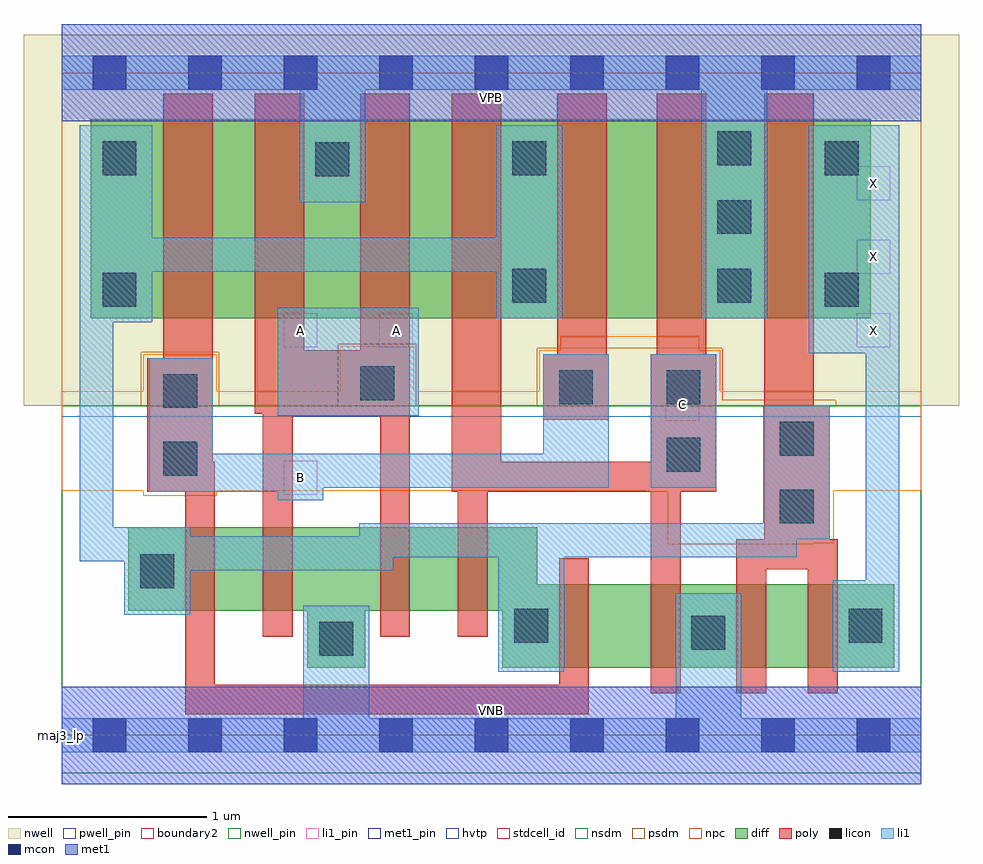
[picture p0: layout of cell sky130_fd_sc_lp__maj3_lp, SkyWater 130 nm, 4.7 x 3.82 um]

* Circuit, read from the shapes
.subckt sky130_fd_sc_lp__maj3_lp A B C VGND VNB VPB VPWR X
XM1 n1 B n2 VNB sky130_fd_pr__nfet_01v8 w=0.42 l=0.15
XM2 VGND A n1 VNB sky130_fd_pr__nfet_01v8 w=0.42 l=0.15
XM3 n3 A VGND VNB sky130_fd_pr__nfet_01v8 w=0.42 l=0.15
XM4 n2 C n3 VNB sky130_fd_pr__nfet_01v8 w=0.42 l=0.15
XM5 n4 B n2 VNB sky130_fd_pr__nfet_01v8 w=0.42 l=0.15
XM6 VGND C n4 VNB sky130_fd_pr__nfet_01v8 w=0.42 l=0.15
XM7 n5 n2 VGND VNB sky130_fd_pr__nfet_01v8 w=0.42 l=0.15
XM8 X n2 n5 VNB sky130_fd_pr__nfet_01v8 w=0.42 l=0.15
XM9 n6 B n2 VPB sky130_fd_pr__pfet_01v8_hvt w=1 l=0.25
XM10 VPWR A n6 VPB sky130_fd_pr__pfet_01v8_hvt w=1 l=0.25
XM11 n7 A VPWR VPB sky130_fd_pr__pfet_01v8_hvt w=1 l=0.25
XM12 n2 C n7 VPB sky130_fd_pr__pfet_01v8_hvt w=1 l=0.25
XM13 n8 B n2 VPB sky130_fd_pr__pfet_01v8_hvt w=1 l=0.25
XM14 VPWR C n8 VPB sky130_fd_pr__pfet_01v8_hvt w=1 l=0.25
XM15 X n2 VPWR VPB sky130_fd_pr__pfet_01v8_hvt w=1 l=0.25
.ends

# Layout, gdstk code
import gdstk
lib = gdstk.Library(unit=1e-6, precision=1e-09)
def R(c, l, rs):  # rectangles x0, y0, x1, y1
    for r in rs: c.add(gdstk.rectangle(r[:2], r[2:], *l))
def A(c, l, x, y, w, h, nx, ny, dx, dy):  # array of equal rectangles
    R(c, l, [(x+i*dx, y+j*dy, x+i*dx+w, y+j*dy+h) for i in range(nx) for j in range(ny)])
def P(c, l, *ps):  # polygons
    for p in ps: c.add(gdstk.Polygon(p, *l))
nwell_pin = (64, 16)
nwell = (64, 20)
diff = (65, 20)
poly = (66, 20)
licon = (66, 44)
li1_pin = (67, 16)
li1 = (67, 20)
mcon = (67, 44)
met1_pin = (68, 16)
met1 = (68, 20)
hvtp = (78, 44)
stdcell_id = (81, 4)
nsdm = (93, 44)
psdm = (94, 20)
npc = (95, 20)
pwell_pin = (122, 16)
boundary2 = (236, 0)

sky130_fd_sc_lp__maj3_lp = lib.new_cell('sky130_fd_sc_lp__maj3_lp')
R(sky130_fd_sc_lp__maj3_lp, nwell_pin, [(0,3.085,4.32,3.33)])
R(sky130_fd_sc_lp__maj3_lp, nwell, [(-0.19,1.655,4.51,3.52)])
R(sky130_fd_sc_lp__maj3_lp, diff, [(0.145,2.095,4.065,3.095)])
P(sky130_fd_sc_lp__maj3_lp, diff, [(4.185,0.76),(2.39,0.76),(2.39,1.045),(0.335,1.045),(0.335,0.625),(1.235,0.625),(1.235,0.34),(1.525,0.34),(1.525,0.625),(2.215,0.625),(2.215,0.34),(4.185,0.34)])
P(sky130_fd_sc_lp__maj3_lp, poly, [(1.75,3.225),(1.5,3.225),(1.5,1.935),(1.22,1.935),(1.22,3.225),(0.97,3.225),(0.97,1.615),(1.01,1.615),(1.01,0.495),(1.16,0.495),(1.16,1.605),(1.6,1.605),(1.6,0.495),(1.75,0.495)],
  [(2.65,0.89),(2.5,0.89),(2.5,0.255),(0.77,0.255),(0.77,1.375),(0.76,1.375),(0.76,3.225),(0.51,3.225),(0.51,1.895),(0.43,1.895),(0.43,1.225),(0.62,1.225),(0.62,0.105),(2.65,0.105)],
  [(2.75,1.915),(2.74,1.915),(2.74,3.225),(2.49,3.225),(2.49,1.915),(2.42,1.915),(2.42,1.585),(2.75,1.585)],
  [(3.29,1.915),(3.24,1.915),(3.24,3.225),(2.99,3.225),(2.99,1.915),(2.96,1.915),(2.96,1.375),(2.21,1.375),(2.21,3.225),(1.96,3.225),(1.96,1.225),(1.99,1.225),(1.99,0.495),(2.14,0.495),(2.14,1.225),(2.96,1.225),(2.96,0.21),(3.11,0.21),(3.11,1.225),(3.29,1.225)],
  [(3.9,0.985),(3.86,0.985),(3.86,1.655),(3.78,1.655),(3.78,3.225),(3.53,3.225),(3.53,0.985),(3.39,0.985),(3.39,0.21),(3.54,0.21),(3.54,0.835),(3.75,0.835),(3.75,0.21),(3.9,0.21)])
A(sky130_fd_sc_lp__maj3_lp, licon, 3.295, 2.175, 0.17, 0.17, 1, 3, 0, 0.345)
R(sky130_fd_sc_lp__maj3_lp, licon, [(1.295,0.4,1.465,0.57), (3.165,0.43,3.335,0.6), (2.275,0.465,2.445,0.635), (3.955,0.465,4.125,0.635), (0.395,0.74,0.565,0.91), (3.61,1.065,3.78,1.235), (0.51,1.305,0.68,1.475), (3.04,1.325,3.21,1.495), (3.61,1.405,3.78,1.575), (0.51,1.645,0.68,1.815), (2.5,1.665,2.67,1.835), (3.04,1.665,3.21,1.835), (1.5,1.685,1.67,1.855), (0.205,2.155,0.375,2.325), (3.835,2.155,4.005,2.325), (2.265,2.175,2.435,2.345), (1.275,2.81,1.445,2.98), (0.205,2.815,0.375,2.985), (2.265,2.815,2.435,2.985), (3.835,2.815,4.005,2.985)])
A(sky130_fd_sc_lp__maj3_lp, li1_pin, 3.995, 1.95, 0.17, 0.17, 1, 3, 0, 0.37)
R(sky130_fd_sc_lp__maj3_lp, li1_pin, [(1.115,1.21,1.285,1.38), (3.035,1.58,3.205,1.75), (1.115,1.95,1.285,2.12), (1.595,1.95,1.765,2.12)])
R(sky130_fd_sc_lp__maj3_lp, li1, [(2.96,1.245,3.29,1.915), (1.085,1.605,1.795,2.15)])
P(sky130_fd_sc_lp__maj3_lp, li1, [(3.215,2.095),(3.215,3.245),(1.525,3.245),(1.525,2.68),(1.195,2.68),(1.195,3.245),(0,3.245),(0,3.415),(4.32,3.415),(4.32,3.245),(3.545,3.245),(3.545,2.095)],
  [(1.215,0.085),(1.215,0.65),(1.545,0.65),(1.545,0.085),(3.085,0.085),(3.085,0.715),(3.415,0.715),(3.415,0.085),(4.32,0.085),(4.32,-0.085),(0,-0.085),(0,0.085)],
  [(0.76,1.415),(2.42,1.415),(2.42,1.915),(2.75,1.915),(2.75,1.245),(1.315,1.245),(1.315,1.18),(1.085,1.18),(1.085,1.225),(0.44,1.225),(0.44,1.895),(0.76,1.895)],
  [(4.04,0.78),(4.04,1.92),(3.755,1.92),(3.755,3.065),(4.21,3.065),(4.21,0.32),(3.875,0.32),(3.875,0.78)],
  [(0.09,0.875),(0.09,3.065),(0.455,3.065),(0.455,2.5),(2.185,2.5),(2.185,3.065),(2.515,3.065),(2.515,2.095),(2.185,2.095),(2.185,2.33),(0.455,2.33),(0.455,2.075),(0.26,2.075),(0.26,1.045),(0.645,1.045),(0.645,1),(1.495,1),(1.495,1.065),(3.525,1.065),(3.525,1.655),(3.86,1.655),(3.86,0.985),(3.695,0.985),(3.695,0.895),(2.525,0.895),(2.525,0.32),(2.195,0.32),(2.195,0.895),(1.665,0.895),(1.665,0.83),(0.645,0.83),(0.645,0.605),(0.315,0.605),(0.315,0.875)])
A(sky130_fd_sc_lp__maj3_lp, mcon, 0.155, -0.085, 0.17, 0.17, 9, 2, 0.48, 3.33)
R(sky130_fd_sc_lp__maj3_lp, met1_pin, [(0,0,4.32,0.245), (0,3.085,4.32,3.33)])
R(sky130_fd_sc_lp__maj3_lp, met1, [(0,-0.245,4.32,0.245), (0,3.085,4.32,3.575)])
R(sky130_fd_sc_lp__maj3_lp, hvtp, [(0,1.6,4.32,3.33)])
R(sky130_fd_sc_lp__maj3_lp, stdcell_id, [(0,0,4.32,3.33)])
R(sky130_fd_sc_lp__maj3_lp, nsdm, [(0,-0.19,4.32,1.655)])
P(sky130_fd_sc_lp__maj3_lp, psdm, [(4.32,3.52),(0,3.52),(0,1.655),(0.4,1.655),(0.4,1.925),(0.79,1.925),(0.79,1.655),(1.39,1.655),(1.39,1.965),(1.78,1.965),(1.78,1.655),(2.39,1.655),(2.39,1.945),(3.32,1.945),(3.32,1.685),(3.89,1.685),(3.89,1.655),(4.32,1.655)])
P(sky130_fd_sc_lp__maj3_lp, npc, [(4.32,1.73),(3.31,1.73),(3.31,1.935),(3.205,1.935),(3.205,2.005),(2.505,2.005),(2.505,1.935),(2.4,1.935),(2.4,1.73),(1.77,1.73),(1.77,1.955),(1.4,1.955),(1.4,1.73),(0.78,1.73),(0.78,1.915),(0.41,1.915),(0.41,1.73),(0,1.73),(0,1.23),(0.41,1.23),(0.41,1.205),(0.78,1.205),(0.78,1.23),(2.94,1.23),(2.94,1.225),(3.045,1.225),(3.045,0.96),(3.775,0.96),(3.775,0.965),(3.88,0.965),(3.88,1.23),(4.32,1.23)])
R(sky130_fd_sc_lp__maj3_lp, pwell_pin, [(0,0,4.32,0.245)])
R(sky130_fd_sc_lp__maj3_lp, boundary2, [(0,0,4.32,3.33)])
sky130_fd_sc_lp__maj3_lp.add(gdstk.Label('VNB', (2.16,0.123), layer=64, texttype=59))
sky130_fd_sc_lp__maj3_lp.add(gdstk.Label('VPB', (2.16,3.208), layer=64, texttype=5))
sky130_fd_sc_lp__maj3_lp.add(gdstk.Label('maj3_lp', (0,0), layer=83, texttype=44))
sky130_fd_sc_lp__maj3_lp.add(gdstk.Label('VPWR', (2.16,3.208), layer=68, texttype=5))
sky130_fd_sc_lp__maj3_lp.add(gdstk.Label('VGND', (2.16,0.123), layer=68, texttype=5))
sky130_fd_sc_lp__maj3_lp.add(gdstk.Label('A', (1.2,2.035), layer=67, texttype=5))
sky130_fd_sc_lp__maj3_lp.add(gdstk.Label('A', (1.68,2.035), layer=67, texttype=5))
sky130_fd_sc_lp__maj3_lp.add(gdstk.Label('C', (3.12,1.665), layer=67, texttype=5))
sky130_fd_sc_lp__maj3_lp.add(gdstk.Label('B', (1.2,1.295), layer=67, texttype=5))
sky130_fd_sc_lp__maj3_lp.add(gdstk.Label('X', (4.08,2.035), layer=67, texttype=5))
sky130_fd_sc_lp__maj3_lp.add(gdstk.Label('X', (4.08,2.405), layer=67, texttype=5))
sky130_fd_sc_lp__maj3_lp.add(gdstk.Label('X', (4.08,2.775), layer=67, texttype=5))

lib.write_gds('sky130_fd_sc_lp__maj3_lp.gds')
